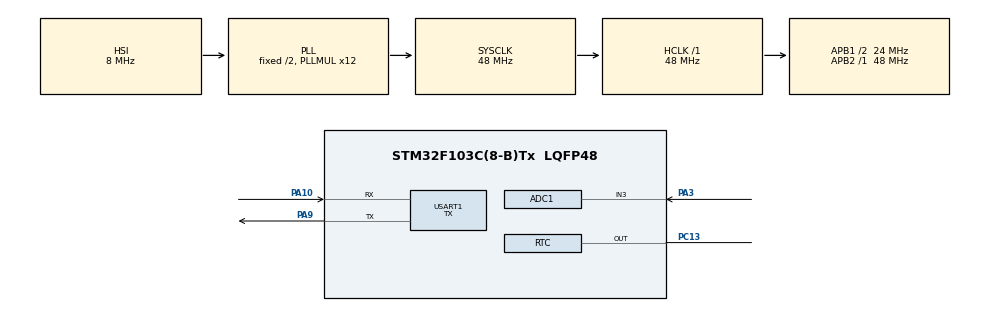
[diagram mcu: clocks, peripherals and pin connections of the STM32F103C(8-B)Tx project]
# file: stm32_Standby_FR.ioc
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ADC1.Channel-0\#ChannelRegularConversion=ADC_CHANNEL_3
ADC1.ContinuousConvMode=ENABLE
ADC1.NbrOfConversionFlag=1
ADC1.Rank-0\#ChannelRegularConversion=1
ADC1.SamplingTime-0\#ChannelRegularConversion=ADC_SAMPLETIME_239CYCLES_5
ADC1.master=1
Dma.ADC1.0.Direction=DMA_PERIPH_TO_MEMORY
Dma.ADC1.0.Instance=DMA1_Channel1
Dma.ADC1.0.MemDataAlignment=DMA_MDATAALIGN_HALFWORD
Dma.ADC1.0.MemInc=DMA_MINC_ENABLE
Dma.ADC1.0.Mode=DMA_CIRCULAR
Dma.ADC1.0.PeriphDataAlignment=DMA_PDATAALIGN_HALFWORD
Dma.ADC1.0.PeriphInc=DMA_PINC_DISABLE
Dma.ADC1.0.Priority=DMA_PRIORITY_HIGH
Dma.Request0=ADC1
FREERTOS.Tasks01=defaultTask,0,128,StartDefaultTask,Default,NULL,Dynamic,NULL,NULL
FREERTOS.configTIMER_TASK_PRIORITY=4
FREERTOS.configUSE_NEWLIB_REENTRANT=1
FREERTOS.configUSE_TIMERS=1
Mcu.Family=STM32F1
Mcu.Name=STM32F103C(8-B)Tx
Mcu.Package=LQFP48
NVIC.ADC1_2_IRQn=true\:5\:0\:false\:false\:true\:true\:true\:true\:true
NVIC.DMA1_Channel1_IRQn=true\:5\:0\:false\:false\:true\:true\:false\:true\:true
NVIC.PriorityGroup=NVIC_PRIORITYGROUP_4
NVIC.RTC_Alarm_IRQn=true\:5\:0\:false\:false\:true\:true\:true\:true\:true
NVIC.RTC_IRQn=true\:5\:0\:false\:false\:true\:true\:true\:true\:true
NVIC.TIM4_IRQn=true\:15\:0\:false\:false\:true\:false\:false\:true\:true
NVIC.TimeBase=TIM4_IRQn
NVIC.TimeBaseIP=TIM4
PA10.Mode=Asynchronous
PA10.Signal=USART1_RX
PA13.Mode=Trace_Asynchronous_SW
PA13.Signal=SYS_JTMS-SWDIO
PA14.Mode=Trace_Asynchronous_SW
PA14.Signal=SYS_JTCK-SWCLK
PA3.Signal=ADCx_IN3
PA9.Mode=Asynchronous
PA9.Signal=USART1_TX
PB3.Mode=Trace_Asynchronous_SW
PB3.Signal=SYS_JTDO-TRACESWO
PC13-TAMPER-RTC.Mode=RTC OUT
PC13-TAMPER-RTC.Signal=RTC_OUT
ProjectManager.HeapSize=0x200
ProjectManager.StackSize=0x400
ProjectManager.TargetToolchain=STM32CubeIDE
RCC.ADCPresc=RCC_ADCPCLK2_DIV4
RCC.AHBFreq_Value=48000000
RCC.APB1CLKDivider=RCC_HCLK_DIV2
RCC.APB1Freq_Value=24000000
RCC.APB1TimFreq_Value=48000000
RCC.APB2Freq_Value=48000000
RCC.APB2TimFreq_Value=48000000
RCC.HCLKFreq_Value=48000000
RCC.PLLMUL=RCC_PLL_MUL12
RCC.SYSCLKFreq_VALUE=48000000
RCC.SYSCLKSource=RCC_SYSCLKSOURCE_PLLCLK
RCC.USBFreq_Value=48000000
RTC.Seconds_A-RTC\ OUT=40
SH.ADCx_IN3.0=ADC1_IN3,IN3
USART1.Mode=MODE_TX
USART1.VirtualMode=VM_ASYNC
VP_FREERTOS_VS_CMSIS_V1.Mode=CMSIS_V1
VP_RTC_VS_RTC_Activate.Mode=RTC_Enabled
VP_RTC_VS_RTC_Calendar.Mode=RTC_Calendar
VP_SYS_VS_tim4.Mode=TIM4
board=custom

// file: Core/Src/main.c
/* USER CODE BEGIN Header */
#include <stdio.h>
#include "analog_capture.h"
#include "task_default.h"
#include "debug.h"
/**
  ******************************************************************************
  * @file           : main.c
  * @brief          : Main program body
  ******************************************************************************
  * @attention
  *
  * Copyright (c) 2023 STMicroelectronics.
  * All rights reserved.
  *
  * This software is licensed under terms that can be found in the LICENSE file
  * in the root directory of this software component.
  * If no LICENSE file comes with this software, it is provided AS-IS.
  *
  ******************************************************************************
  */
/* USER CODE END Header */
#include "main.h"
#include "cmsis_os.h"

ADC_HandleTypeDef hadc1;
DMA_HandleTypeDef hdma_adc1;

RTC_HandleTypeDef hrtc;

UART_HandleTypeDef huart1;

osThreadId defaultTaskHandle;

void SystemClock_Config(void);
static void MX_GPIO_Init(void);
static void MX_DMA_Init(void);
static void MX_ADC1_Init(void);
static void MX_RTC_Init(void);
static void MX_USART1_UART_Init(void);
void StartDefaultTask(void const * argument);

/* USER CODE BEGIN PFP */
void HAL_RTC_AlarmAEventCallback(RTC_HandleTypeDef *hrtc)
{
	DBG("%s", __func__);

  RTC_TimeTypeDef  sTime = {0};
  RTC_AlarmTypeDef sAlarm = {0};

  sTime.Hours = 0x0;
  sTime.Minutes = 0x0;
  sTime.Seconds = 0x0;
  if (HAL_RTC_SetTime(hrtc, &sTime, RTC_FORMAT_BCD) != HAL_OK)
  {
    Error_Handler();
  }

  sAlarm.AlarmTime.Hours = 0x0;
  sAlarm.AlarmTime.Minutes = 0x0;
  sAlarm.AlarmTime.Seconds = 0x40;
  sAlarm.Alarm = RTC_ALARM_A;
//  if (HAL_RTC_SetAlarm_IT(&hrtc, &sAlarm, RTC_FORMAT_BCD) != HAL_OK)
  if (HAL_RTC_SetAlarm(hrtc, &sAlarm, RTC_FORMAT_BCD) != HAL_OK)
  {
	  DBG("error");
    Error_Handler();
  }

}
/* USER CODE END PFP */

int main(void)
{

  /* MCU Configuration--------------------------------------------------------*/

  /* Reset of all peripherals, Initializes the Flash interface and the Systick. */
  HAL_Init();

  /* Configure the system clock */
  SystemClock_Config();

  /* Initialize all configured peripherals */
  MX_GPIO_Init();
  MX_DMA_Init();
  MX_ADC1_Init();
  MX_RTC_Init();
  MX_USART1_UART_Init();
  /* USER CODE BEGIN 2 */

  HAL_ADCEx_Calibration_Start(&hadc1);
  /* USER CODE END 2 */

  /* Create the thread(s) */
  /* definition and creation of defaultTask */
  osThreadDef(defaultTask, StartDefaultTask, osPriorityNormal, 0, 128);
  defaultTaskHandle = osThreadCreate(osThread(defaultTask), NULL);

  /* Start scheduler */
  osKernelStart();

  /* We should never get here as control is now taken by the scheduler */
  /* Infinite loop */
  while (1)
  {

  }
}

void SystemClock_Config(void)
{
  RCC_OscInitTypeDef RCC_OscInitStruct = {0};
  RCC_ClkInitTypeDef RCC_ClkInitStruct = {0};
  RCC_PeriphCLKInitTypeDef PeriphClkInit = {0};

  /** Initializes the RCC Oscillators according to the specified parameters
  * in the RCC_OscInitTypeDef structure.
  */
  RCC_OscInitStruct.OscillatorType = RCC_OSCILLATORTYPE_HSI|RCC_OSCILLATORTYPE_LSI;
  RCC_OscInitStruct.HSIState = RCC_HSI_ON;
  RCC_OscInitStruct.HSICalibrationValue = RCC_HSICALIBRATION_DEFAULT;
  RCC_OscInitStruct.LSIState = RCC_LSI_ON;
  RCC_OscInitStruct.PLL.PLLState = RCC_PLL_ON;
  RCC_OscInitStruct.PLL.PLLSource = RCC_PLLSOURCE_HSI_DIV2;
  RCC_OscInitStruct.PLL.PLLMUL = RCC_PLL_MUL12;
  if (HAL_RCC_OscConfig(&RCC_OscInitStruct) != HAL_OK)
  {
    Error_Handler();
  }

  /** Initializes the CPU, AHB and APB buses clocks
  */
  RCC_ClkInitStruct.ClockType = RCC_CLOCKTYPE_HCLK|RCC_CLOCKTYPE_SYSCLK
                              |RCC_CLOCKTYPE_PCLK1|RCC_CLOCKTYPE_PCLK2;
  RCC_ClkInitStruct.SYSCLKSource = RCC_SYSCLKSOURCE_PLLCLK;
  RCC_ClkInitStruct.AHBCLKDivider = RCC_SYSCLK_DIV1;
  RCC_ClkInitStruct.APB1CLKDivider = RCC_HCLK_DIV2;
  RCC_ClkInitStruct.APB2CLKDivider = RCC_HCLK_DIV1;

  if (HAL_RCC_ClockConfig(&RCC_ClkInitStruct, FLASH_LATENCY_1) != HAL_OK)
  {
    Error_Handler();
  }
  PeriphClkInit.PeriphClockSelection = RCC_PERIPHCLK_RTC|RCC_PERIPHCLK_ADC;
  PeriphClkInit.RTCClockSelection = RCC_RTCCLKSOURCE_LSI;
  PeriphClkInit.AdcClockSelection = RCC_ADCPCLK2_DIV4;
  if (HAL_RCCEx_PeriphCLKConfig(&PeriphClkInit) != HAL_OK)
  {
    Error_Handler();
  }
}

static void MX_ADC1_Init(void)
{

  ADC_ChannelConfTypeDef sConfig = {0};

  /** Common config
  */
  hadc1.Instance = ADC1;
  hadc1.Init.ScanConvMode = ADC_SCAN_DISABLE;
  hadc1.Init.ContinuousConvMode = ENABLE;
  hadc1.Init.DiscontinuousConvMode = DISABLE;
  hadc1.Init.ExternalTrigConv = ADC_SOFTWARE_START;
  hadc1.Init.DataAlign = ADC_DATAALIGN_RIGHT;
  hadc1.Init.NbrOfConversion = 1;
  if (HAL_ADC_Init(&hadc1) != HAL_OK)
  {
    Error_Handler();
  }

  /** Configure Regular Channel
  */
  sConfig.Channel = ADC_CHANNEL_3;
  sConfig.Rank = ADC_REGULAR_RANK_1;
  sConfig.SamplingTime = ADC_SAMPLETIME_239CYCLES_5;
  if (HAL_ADC_ConfigChannel(&hadc1, &sConfig) != HAL_OK)
  {
    Error_Handler();
  }

}

static void MX_RTC_Init(void)
{

  RTC_TimeTypeDef sTime = {0};
  RTC_DateTypeDef DateToUpdate = {0};
  RTC_AlarmTypeDef sAlarm = {0};

  /** Initialize RTC Only
  */
  hrtc.Instance = RTC;
  hrtc.Init.AsynchPrediv = RTC_AUTO_1_SECOND;
  hrtc.Init.OutPut = RTC_OUTPUTSOURCE_ALARM;
  if (HAL_RTC_Init(&hrtc) != HAL_OK)
  {
    Error_Handler();
  }

  /** Initialize RTC and set the Time and Date
  */
  sTime.Hours = 0x0;
  sTime.Minutes = 0x0;
  sTime.Seconds = 0x0;

  if (HAL_RTC_SetTime(&hrtc, &sTime, RTC_FORMAT_BCD) != HAL_OK)
  {
    Error_Handler();
  }
  DateToUpdate.WeekDay = RTC_WEEKDAY_MONDAY;
  DateToUpdate.Month = RTC_MONTH_JANUARY;
  DateToUpdate.Date = 0x1;
  DateToUpdate.Year = 0x0;

  if (HAL_RTC_SetDate(&hrtc, &DateToUpdate, RTC_FORMAT_BCD) != HAL_OK)
  {
    Error_Handler();
  }

  /** Enable the Alarm A
  */
  sAlarm.AlarmTime.Hours = 0x0;
  sAlarm.AlarmTime.Minutes = 0x0;
  sAlarm.AlarmTime.Seconds = 0x40;
  sAlarm.Alarm = RTC_ALARM_A;
  if (HAL_RTC_SetAlarm_IT(&hrtc, &sAlarm, RTC_FORMAT_BCD) != HAL_OK)
  {
    Error_Handler();
  }

}

static void MX_USART1_UART_Init(void)
{

  huart1.Instance = USART1;
  huart1.Init.BaudRate = 115200;
  huart1.Init.WordLength = UART_WORDLENGTH_8B;
  huart1.Init.StopBits = UART_STOPBITS_1;
  huart1.Init.Parity = UART_PARITY_NONE;
  huart1.Init.Mode = UART_MODE_TX;
  huart1.Init.HwFlowCtl = UART_HWCONTROL_NONE;
  huart1.Init.OverSampling = UART_OVERSAMPLING_16;
  if (HAL_UART_Init(&huart1) != HAL_OK)
  {
    Error_Handler();
  }

}

static void MX_DMA_Init(void)
{

  /* DMA controller clock enable */
  __HAL_RCC_DMA1_CLK_ENABLE();

  /* DMA interrupt init */
  /* DMA1_Channel1_IRQn interrupt configuration */
  HAL_NVIC_SetPriority(DMA1_Channel1_IRQn, 5, 0);
  HAL_NVIC_EnableIRQ(DMA1_Channel1_IRQn);

}

static void MX_GPIO_Init(void)
{

  /* GPIO Ports Clock Enable */
  __HAL_RCC_GPIOC_CLK_ENABLE();
  __HAL_RCC_GPIOA_CLK_ENABLE();
  __HAL_RCC_GPIOB_CLK_ENABLE();

}

void StartDefaultTask(void const * argument)
{
  /* USER CODE BEGIN 5 */
  /* Infinite loop */
  task_default_init();
  for(;;)
  {
	  task_default_run();
	  osDelay(5000);
  }
  /* USER CODE END 5 */
}

void HAL_TIM_PeriodElapsedCallback(TIM_HandleTypeDef *htim)
{
  if (htim->Instance == TIM4) {
    HAL_IncTick();
  }
}

void Error_Handler(void)
{
  __disable_irq();
  while (1)
  {
  }
}
